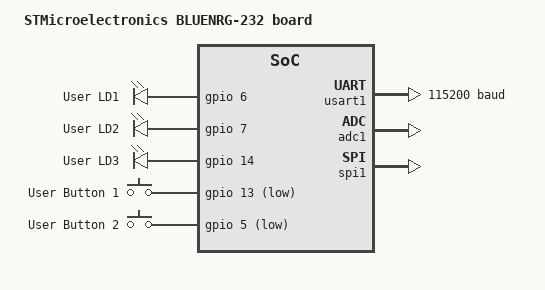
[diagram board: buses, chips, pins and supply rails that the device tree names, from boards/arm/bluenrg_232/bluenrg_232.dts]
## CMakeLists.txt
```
list(APPEND ZEPHYR_EXTRA_MODULES
	${CMAKE_CURRENT_SOURCE_DIR}/drivers
)

cmake_minimum_required(VERSION 3.13.1)

set(BOARD_ROOT ${CMAKE_CURRENT_LIST_DIR})
set(SOC_ROOT ${CMAKE_CURRENT_LIST_DIR})
set(DTS_ROOT ${CMAKE_CURRENT_LIST_DIR}/dts_root)

set(BOARD bluenrg_232)
include($ENV{ZEPHYR_BASE}/cmake/app/boilerplate.cmake NO_POLICY_SCOPE)
project(bluenrg_app)

zephyr_include_directories(${CMAKE_CURRENT_LIST_DIR}/dts_root/include)

add_subdirectory(${CMAKE_CURRENT_LIST_DIR}/hal_bluenrg)

# zephyr_include_directories(${CMAKE_CURRENT_LIST_DIR}/dts_root/include)

# Add your source file to the "app" target. This must come after
# the boilerplate code, which defines the target.
target_sources(app PRIVATE src/main.c)
```

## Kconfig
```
# SPDX-License-Identifier: Apache-2.0

mainmenu "OutOfTreeApp"

# Your application configuration options go here

# Sources Kconfig.zephyr in the Zephyr root directory.
#
# Note: All 'source' statements work relative to the Zephyr root directory (due
# to the $srctree environment variable being set to $ZEPHYR_BASE). If you want
# to 'source' relative to the current Kconfig file instead, use 'rsource' (or a
# path relative to the Zephyr root).
source "Kconfig.zephyr"


config HAS_BLUENRG_HAL
	bool
	depends on HAS_DTS
	help
	  This option specifies that the target platform supports device tree
	  configuration for WDT.
```

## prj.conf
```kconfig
CONFIG_GPIO=y
CONFIG_DEBUG=y
CONFIG_PINMUX=y
CONFIG_UART_1=y
CONFIG_RING_BUFFER=y
CONFIG_SPI_BLUENRG=y
```

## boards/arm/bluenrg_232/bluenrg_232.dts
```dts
/*
 * Copyright (c) 2017 Powersoft
 *
 * SPDX-License-Identifier: Apache-2.0
 */

/dts-v1/;
#include <st/bluenrg/bluenrg.dtsi>

/ {
	model = "STMicroelectronics BLUENRG-232 board";
	compatible = "st,bluenrg";

	chosen {
		zephyr,sram = &sram0;
		zephyr,flash = &flash0;
		zephyr,console = &usart1;
		zephyr,shell-uart = &usart1;
	};

	leds {
		compatible = "gpio-leds";
		green_led_1: led_1 {
			gpios = <&gpio 6 GPIO_ACTIVE_HIGH>;
			label = "User LD1";
		};
		green_led_2: led_2 {
			gpios = <&gpio 7 GPIO_ACTIVE_HIGH>;
			label = "User LD2";
		};
		green_led_3: led_3 {
			gpios = <&gpio 14 GPIO_ACTIVE_HIGH>;
			label = "User LD3";
		};
	};

	gpio_keys {
		compatible = "gpio-keys";
		user_button1: button1 {
			label = "User Button 1";
			gpios = <&gpio 13 GPIO_ACTIVE_LOW>;
		};
		user_button2: button2 {
			label = "User Button 2";
			gpios = <&gpio 5 GPIO_ACTIVE_LOW>;
		};
	};

	aliases {
		led0 = &green_led_1;
		led1 = &green_led_2;
		led2 = &green_led_3;
		sw0 = &user_button1;
		sw1 = &user_button2;
	};
};

&usart1 {
	current-speed = <115200>;
	status = "okay";
};

&adc1 {
	status = "okay";
};

&spi1 {
	status = "okay";
};
```

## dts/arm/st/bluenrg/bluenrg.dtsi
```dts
/*
 * Copyright (c) 2019 Linaro Limited
 * Copyright (c) 2019 Centaur Analytics, Inc
 *
 * SPDX-License-Identifier: Apache-2.0
 */

#include <mem.h>
#include <arm/armv6-m.dtsi>
#include <dt-bindings/gpio/gpio.h>
#include "dt-bindings/clock/clock_bluenrg.h"

/ {
	cpus {
		#address-cells = <1>;
		#size-cells = <0>;

		cpu@0 {
			device_type = "cpu";
			compatible = "arm,cortex-m0";
			reg = <0>;
		};
	};

	sram0: memory@20000000 {
		device_type = "memory";
		reg = <0x20000000 DT_SIZE_K(24)>;
	};

	soc {
		flash-controller@40100000 {
			compatible = "st,bluenrg-flash-controller";
			label = "FLASH_CTRL";
			reg = <0x40100000 0x1000>;
			interrupts = <1 0>;

			#address-cells = <1>;
			#size-cells = <1>;

			flash0: flash@10040000 {
				reg = <0x10040000 DT_SIZE_K(256)>;
			};
		};

		rcc: rcc@40900000 {
			compatible = "st,bluenrg-rcc";
			#clock-cells = <1>;
			reg = <0x40900000 0x400>;
			label = "BLUENRG_CLK_RCC";
		};

		pinctrl: pin-controller@40000000 {
			compatible = "st,bluenrg-pinmux";
			#address-cells = <1>;
			#size-cells = <1>;
			reg = <0x40000000 0x1C00>;

			gpio: gpio@40000000 {
				compatible = "st,bluenrg-gpio";
				gpio-controller;
				#gpio-cells = <2>;
				reg = <0x40000000 0x400>;
				clocks = <&rcc BLUENRG_CLOCK_PERIPH_GPIO>;
				label = "GPIO";
			};
		};

		usart1: serial@40300000 {
			compatible = "st,bluenrg-uart";
			reg = <0x40300000 0x064>;
			clocks = <&rcc BLUENRG_CLOCK_PERIPH_UART>;
			interrupts = <4 0>;
			status = "disabled";
			label = "UART_1";
		};

		adc1: adc@40800000 {
			compatible = "st,bluenrg-adc";
			reg = <0x40800000 0x02C>;
			clocks = <&rcc BLUENRG_CLOCK_PERIPH_ADC>;
			interrupts = <13 0>;
			status = "disabled";
			label = "ADC";
			#io-channel-cells = <1>;
		};
	};
};

&nvic {
	arm,num-irq-priority-bits = <2>;
};
```

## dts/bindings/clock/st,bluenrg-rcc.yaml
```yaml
description: BLUENRG RCC (Reset and Clock Controller)

compatible: "st,bluenrg-rcc"

include: [clock-controller.yaml, base.yaml]

properties:
    reg:
      required: true

    "#clock-cells":
      const: 1

clock-cells:
  - bus
```

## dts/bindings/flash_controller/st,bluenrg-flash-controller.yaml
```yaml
description: BLUENRG WB flash controller

compatible: "st,bluenrg-flash-controller"

include: flash-controller.yaml

properties:
    single-bank:
      type: boolean
      description: dual-bank mode not enabled (page erase 4096k)
      required: false

    dual-bank:
      type: boolean
      description: dual-bank mode enabled (page erase 2048k)
      required: false
```

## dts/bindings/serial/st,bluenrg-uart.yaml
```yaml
description: BlueNRG UART

compatible: "st,bluenrg-uart"

include: uart-controller.yaml

properties:
    reg:
      required: true

    interrupts:
      required: true
```

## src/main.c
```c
/*
 * Copyright (c) 2016 Intel Corporation
 *
 * SPDX-License-Identifier: Apache-2.0
 */

#include <zephyr.h>
#include <device.h>
#include <drivers/gpio.h>
#include <drivers/adc.h>
#include <drivers/uart.h>
#include <sys/ring_buffer.h>

#include <drivers/spi.h>

#define LSM6DS3_XG_FIFO_ODR_NA                          ((uint8_t)0x00) /*!< FIFO ODR NA */
#define LSM6DS3_XG_FIFO_ODR_10HZ                        ((uint8_t)0x08) /*!< FIFO ODR 10Hz */
#define LSM6DS3_XG_FIFO_ODR_25HZ                        ((uint8_t)0x10) /*!< FIFO ODR 25Hz */
#define LSM6DS3_XG_FIFO_ODR_50HZ                        ((uint8_t)0x18) /*!< FIFO ODR 50Hz */
#define LSM6DS3_XG_FIFO_ODR_100HZ                       ((uint8_t)0x20) /*!< FIFO ODR 100Hz */
#define LSM6DS3_XG_FIFO_ODR_200HZ                       ((uint8_t)0x28) /*!< FIFO ODR 200Hz */
#define LSM6DS3_XG_FIFO_ODR_400HZ                       ((uint8_t)0x30) /*!< FIFO ODR 400Hz */
#define LSM6DS3_XG_FIFO_ODR_800HZ                       ((uint8_t)0x38) /*!< FIFO ODR 800Hz */
#define LSM6DS3_XG_FIFO_ODR_1600HZ                      ((uint8_t)0x40) /*!< FIFO ODR 1600Hz */
#define LSM6DS3_XG_FIFO_ODR_3300HZ                      ((uint8_t)0x48) /*!< FIFO ODR 3300Hz */
#define LSM6DS3_XG_FIFO_ODR_6600HZ                      ((uint8_t)0x50) /*!< FIFO ODR 6600Hz */

#define LSM6DS3_XG_FIFO_ODR_MASK                        ((uint8_t)0x78)
/**
 * @}
 */

/** @defgroup LSM6DS3_XG_FIFO_Mode_Selection_FIFO_CTRL5 LSM6DS3_XG_FIFO_Mode_Selection_FIFO_CTRL5
 * @{
 */
#define LSM6DS3_XG_FIFO_MODE_BYPASS                     ((uint8_t)0x00) /*!< BYPASS Mode. FIFO turned off */
#define LSM6DS3_XG_FIFO_MODE_FIFO                       ((uint8_t)0x01) /*!< FIFO Mode. Stop collecting data when FIFO is full */
#define LSM6DS3_XG_FIFO_MODE_CONTINUOUS_THEN_FIFO       ((uint8_t)0x03) /*!< CONTINUOUS mode until trigger is deasserted, then FIFO mode */
#define LSM6DS3_XG_FIFO_MODE_BYPASS_THEN_CONTINUOUS     ((uint8_t)0x04) /*!< BYPASS mode until trigger is deasserted, then CONTINUOUS mode */
#define LSM6DS3_XG_FIFO_MODE_CONTINUOUS_OVERWRITE       ((uint8_t)0x05) /*!< CONTINUOUS mode. If the FIFO is full the new sample overwrite the older one */

#define LSM6DS3_XG_FIFO_MODE_MASK                       ((uint8_t)0x07)



/* 1000 msec = 1 sec */
#define SLEEP_TIME_MS   1000

#ifndef DT_ALIAS_LED0_GPIOS_FLAGS
#define DT_ALIAS_LED0_GPIOS_FLAGS 0
#endif
#define TX_BUF_SIZE 1
#define RX_BUF_SIZE 1
struct ring_buf 	 tx_buf;
uint32_t 			 tx_data[TX_BUF_SIZE];
struct ring_buf 	 rx_buf;
uint32_t 			 rx_data[RX_BUF_SIZE];

int send_to_port(char* buffer, uint16_t length);

static void irq_handler_serial(struct device *dev) {
	while (uart_irq_update(dev) && uart_irq_is_pending(dev)) {
		/* TX IRQ */
		if (uart_irq_tx_ready(dev) ) {
			uint8_t byte = 0;
			if (!ring_buf_get(&tx_buf, &byte, 1)) {
				// Means buffer is empty and we can disable the IRQ
				uart_irq_tx_disable(dev);
			} else {
				uart_fifo_fill(dev, &byte, 1);
			}
		}

		/* RX IRQ */
		if (uart_irq_rx_ready(dev)) {
			u8_t byte;
			int rx;
			rx = uart_fifo_read(dev, &byte, 1);
			if (rx < 0) {
				return;
			}
			ring_buf_put(&rx_buf, &byte, 1);
		}				
	}
}

int send_to_port(char* buffer, uint16_t length) {
	int ret_val = -ENODEV;
	struct device *dev = device_get_binding("UART_1");

	if (!dev) {
		return ret_val;
	}
	ring_buf_put(&tx_buf, buffer, length);
	uart_irq_tx_enable(dev);
	ret_val = 0;
	return ret_val;
}

static void button_pressed(struct device *dev, struct gpio_callback *cb,
			   u32_t pins)
{
	// if (pins & BIT(DT_ALIAS_SW0_GPIOS_PIN)) {
		printk("Button Pressed %d\n\r", pins);
	// }
}

static enum adc_action sequence_callback(struct device *dev, const struct adc_sequence *sequence, u16_t sampling_index) {
	uint16_t measured = *(uint16_t *)sequence->buffer;
	printk("Channel %u Temperature %d 'C\n\r",sequence->channels, measured);
    return ADC_ACTION_FINISH;
}

static enum adc_action sequence_voltage_callback(struct device *dev, const struct adc_sequence *sequence, u16_t sampling_index) {
	uint16_t measured = *(uint16_t *)sequence->buffer;
	printk("Channel %u Voltage %d mV\n\r", sequence->channels, measured);
    return ADC_ACTION_FINISH;
}
static uint16_t channel_data[3][2];



union lsm6ds_sample {
	u8_t raw[128];
	struct {
		u8_t status;
		s16_t xyz[3];
	} __packed;
};

struct lsm6ds_data {
	struct device *spi;
	struct spi_config spi_cfg;
	union lsm6ds_sample sample;
	/* current scaling factor, in micro m/s^2 / lsb */
	u32_t scale;
};

static int lsm6d3_spi_write(struct device *dev, u8_t reg_addr,
			     u8_t *value, u8_t len)
{
	// struct device *cs_dev = device_get_binding("GPIO");
    struct spi_cs_control cs;
    cs.gpio_dev = device_get_binding(DT_ALIAS_SW0_GPIOS_CONTROLLER);
    cs.gpio_pin = 1;
	cs.delay = 0;

    struct spi_config lsm6ds_spi_conf;
    lsm6ds_spi_conf.frequency = 8000000;
    lsm6ds_spi_conf.operation = (SPI_OP_MODE_MASTER | SPI_MODE_CPOL |
                                 SPI_MODE_CPHA | SPI_WORD_SET (8) | SPI_LINES_SINGLE);
    lsm6ds_spi_conf.slave     = 0xD4;
    lsm6ds_spi_conf.cs        = &cs;

	if(cs.gpio_dev == NULL) {
		return;
	}

	printk("SPI CS initialized.. \n\r");

	u8_t buffer_tx[1] = { reg_addr & ~0x80 };
	const struct spi_buf tx_buf[2] = {
		{
			.buf = buffer_tx,
			.len = 1,
		},
		{
			.buf = value,
			.len = len,
		}
	};
	const struct spi_buf_set tx = {
		.buffers = tx_buf,
		.count = 2
	};


	if (len > 64) {
		return -EIO;
	}

	if (spi_write(dev, &lsm6ds_spi_conf, &tx)) {
		return -EIO;
	}

	return 0;
}

static int lsm6d3_spi_read(struct device *dev, u8_t reg,
			    u8_t *value, u16_t len)
{
	// struct device *cs_dev = device_get_binding("GPIO");
    struct spi_cs_control cs;
    cs.gpio_dev = device_get_binding(DT_ALIAS_SW0_GPIOS_CONTROLLER);
    cs.gpio_pin = 1;
	cs.delay = 0;

    struct spi_config lsm6ds_spi_conf;
    lsm6ds_spi_conf.frequency = 8000000;
    lsm6ds_spi_conf.operation = (SPI_OP_MODE_MASTER | SPI_MODE_CPOL |
                                 SPI_MODE_CPHA | SPI_WORD_SET (8) | SPI_LINES_SINGLE);
    lsm6ds_spi_conf.slave     = 0xD4;
    lsm6ds_spi_conf.cs        = &cs;

	if(cs.gpio_dev == NULL) {
		return;
	}

	printk("SPI CS initialized.. \n\r");

	struct spi_config *spi_cfg = &lsm6ds_spi_conf;
	u8_t buffer_tx[2] = { reg | 0x80, 0 };
	const struct spi_buf tx_buf = {
			.buf = buffer_tx,
			.len = 2,
	};
	const struct spi_buf_set tx = {
		.buffers = &tx_buf,
		.count = 1
	};
	const struct spi_buf rx_buf[2] = {
		{
			.buf = NULL,
			.len = 1,
		},
		{
			.buf = value,
			.len = len,
		}
	};
	const struct spi_buf_set rx = {
		.buffers = rx_buf,
		.count = 2
	};

	if (len > 64) {
		return -EIO;
	}

	if (spi_transceive(dev, spi_cfg, &tx, &rx)) {
		return -EIO;
	}

	return 0;
}

void main(void)
{
	bool led_is_on = true;
	int ret;
	struct device *spi_dev = device_get_binding("SPI");
	struct device *uart_dev = device_get_binding("UART_1");
	struct device *button1 = device_get_binding(DT_ALIAS_SW0_GPIOS_CONTROLLER);
	struct device *button2 = device_get_binding(DT_ALIAS_SW1_GPIOS_CONTROLLER);
	if(spi_dev == NULL) {
		return;
	}

uint8_t data = 0xFF;

	do {
		lsm6d3_spi_read(spi_dev, 0x0F, &data, 1);
		printk("1. Spi recv %02X\n\r", data);
	} while(data != 0x69);

	uint8_t tmp = 0x05;
	lsm6d3_spi_write(spi_dev, 0x12, &tmp, 1);
	uint8_t tmp1 = 0x00;
	do {
		lsm6d3_spi_read(spi_dev, 0x12, &tmp1, 1);
		printk("2. Spi recv %02X\n\r", tmp1);
	} while(tmp1 != 0x04);

	
	tmp1 &= ~(0x04);
  	tmp1 |= 0x04;
	lsm6d3_spi_write(spi_dev, 0x12, &tmp1, 1);

	lsm6d3_spi_read(spi_dev, 0x0A, &tmp1, 1);
	printk("3. Spi recv %02X\n\r", tmp1);

	tmp1 &= ~(LSM6DS3_XG_FIFO_ODR_MASK);
	tmp1 |= LSM6DS3_XG_FIFO_ODR_NA;
  
	/* FIFO mode selection */
	tmp1 &= ~(LSM6DS3_XG_FIFO_MODE_MASK);
	tmp1 |= LSM6DS3_XG_FIFO_MODE_BYPASS;
	lsm6d3_spi_write(spi_dev, 0x0A, &tmp1, 1);

	uint16_t raw = 0xFFFF;
	do {
		lsm6d3_spi_read(spi_dev, 0x28, &raw, 2);
		printk("4. Spi recv %02X\n\r", raw);
		k_sleep(SLEEP_TIME_MS);
	} while(1);

	if(uart_dev == NULL) {
		return;
	}

	struct device *led0 = device_get_binding(DT_ALIAS_LED0_GPIOS_CONTROLLER);
	struct device *led1 = device_get_binding(DT_ALIAS_LED1_GPIOS_CONTROLLER);
	struct device *led2 = device_get_binding(DT_ALIAS_LED2_GPIOS_CONTROLLER);

	struct device *adc_dev = device_get_binding("ADC");

	
	if(adc_dev == NULL) {
		return;
	}
	struct adc_channel_cfg adc_cfg = {
		.channel_id = 1,
		.reference = ADC_REF_EXTERNAL0
	};
	struct adc_channel_cfg adc_cfg_temp = {
		.channel_id = 4,
		.reference = ADC_REF_EXTERNAL0
	};
	struct adc_channel_cfg adc_cfg_bat = {
		.channel_id = 5,
		.reference = ADC_REF_EXTERNAL0
	};
	struct adc_sequence_options options1 = {
		.interval_us = 5000000000,
		.callback = sequence_voltage_callback
	};
	struct adc_sequence_options options = {
		.interval_us = 5000000000,
		.callback = sequence_callback
	};
	struct adc_sequence seq = {
		.options = &options1,
		.buffer = &channel_data[0],
		.buffer_size = sizeof(channel_data[0]),
		.channels = 1,
		.resolution = 10,
	};
	struct adc_sequence seq_temp = {
		.options = &options,
		.buffer = &channel_data[1],
		.buffer_size = sizeof(channel_data[1]),
		.channels = 4,
		.resolution = 10,
	};
	struct adc_sequence seq_bat = {
		.options = &options1,
		.buffer = &channel_data[2],
		.buffer_size = sizeof(channel_data[2]),
		.channels = 5,
		.resolution = 10,
	};
	

	if ((led0 == NULL) || (led2 == NULL)) {
		return;
	}

	ret = gpio_pin_configure(led0, DT_ALIAS_LED0_GPIOS_PIN,
				 GPIO_OUTPUT_ACTIVE
				 | DT_ALIAS_LED0_GPIOS_FLAGS);
	ret = gpio_pin_configure(led1, DT_ALIAS_LED1_GPIOS_PIN,
				 GPIO_OUTPUT_ACTIVE
				 | DT_ALIAS_LED1_GPIOS_FLAGS);
	ret = gpio_pin_configure(led2, DT_ALIAS_LED2_GPIOS_PIN,
				 GPIO_OUTPUT_ACTIVE
				 | DT_ALIAS_LED2_GPIOS_FLAGS);
	
	if (ret < 0) {
		return;
	}

	ret = gpio_pin_configure(button1, DT_ALIAS_SW0_GPIOS_PIN,
					GPIO_INPUT | DT_ALIAS_SW0_GPIOS_FLAGS);
	ret = gpio_pin_configure(button2, DT_ALIAS_SW1_GPIOS_PIN,
					GPIO_INPUT | DT_ALIAS_SW1_GPIOS_FLAGS);
	

	/* Ring buffer init */
	// ring_buf_init(&tx_buf, sizeof(tx_data), tx_data);
	// ring_buf_init(&rx_buf, sizeof(rx_data), rx_data);

	// uart_irq_rx_disable(uart_dev);
	// uart_irq_tx_disable(uart_dev);

	// uart_irq_callback_set(uart_dev, irq_handler_serial);

	// uart_irq_rx_enable(uart_dev);

	static struct gpio_callback button_cb;
	ret = gpio_pin_interrupt_configure(button1, DT_ALIAS_SW0_GPIOS_PIN,
				     GPIO_INT_EDGE_TO_ACTIVE);
	ret = gpio_pin_interrupt_configure(button2, DT_ALIAS_SW1_GPIOS_PIN,
					GPIO_INT_EDGE_TO_ACTIVE);
	
	if (ret != 0) {
		printk("Error %d: failed to configure interrupt on pin %d '%s'\n",
			ret, DT_ALIAS_SW0_GPIOS_PIN, DT_ALIAS_SW0_LABEL);
		return;
	}

	gpio_init_callback(&button_cb, button_pressed,
			   BIT(DT_ALIAS_SW0_GPIOS_PIN) | BIT(DT_ALIAS_SW1_GPIOS_PIN));
	gpio_add_callback(button1, &button_cb);
	gpio_add_callback(button2, &button_cb);

	while (1) {
		gpio_pin_set(led0, DT_ALIAS_LED0_GPIOS_PIN, (int)led_is_on);
		gpio_pin_set(led1, DT_ALIAS_LED0_GPIOS_PIN, (int)led_is_on);
		gpio_pin_set(led2, DT_ALIAS_LED2_GPIOS_PIN, (int)led_is_on);
		led_is_on = !led_is_on;
		printk("--------------------------------------------\n\r");
		adc_channel_setup(adc_dev, &adc_cfg);
		adc_read(adc_dev, &seq);
		adc_channel_setup(adc_dev, &adc_cfg_temp);
		adc_read(adc_dev, &seq_temp);
		adc_channel_setup(adc_dev, &adc_cfg_bat);
		adc_read(adc_dev, &seq_bat);
		printk("--------------------------------------------\n\r");
		// u8_t pData[TX_BUF_SIZE] = {0};

		// int rx = ring_buf_get(&rx_buf, pData, sizeof(pData));
		// if(rx > 0) {
		// 	send_to_port(pData, rx);
		// }

		// u8_t pData[TX_BUF_SIZE] = {0};
		// uart_poll_in(uart_dev, &c);
		// uart_poll_out(uart_dev, c);
		k_sleep(SLEEP_TIME_MS);
	}
}
```
